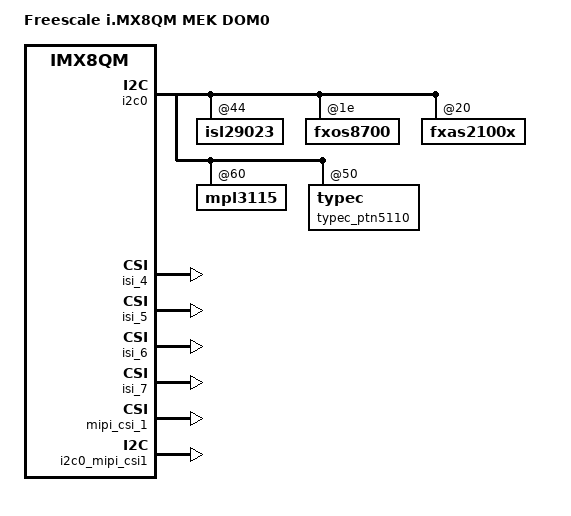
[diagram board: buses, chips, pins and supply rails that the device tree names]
/*
 * Copyright 2018 NXP
 *
 * This program is free software; you can redistribute it and/or
 * modify it under the terms of the GNU General Public License
 * as published by the Free Software Foundation; either version 2
 * of the License, or (at your option) any later version.
 *
 * This program is distributed in the hope that it will be useful,
 * but WITHOUT ANY WARRANTY; without even the implied warranty of
 * MERCHANTABILITY or FITNESS FOR A PARTICULAR PURPOSE.  See the
 * GNU General Public License for more details.
 */

/dts-v1/;

/memreserve/ 0x84000000 0x4000000;
/memreserve/ 0x90000000 0x400000;
/memreserve/ 0x90400000 0x2000000;
/memreserve/ 0x92400000 0x2000000;
/memreserve/ 0x94400000 0x1800000;

#include "fsl-imx8qm-mek.dtsi"
#include "fsl-imx8qm-xen.dtsi"

/ {
	model = "Freescale i.MX8QM MEK DOM0";
	compatible = "fsl,imx8qm-mek", "fsl,imx8qm";

	chosen {
		#address-cells = <2>;
		#size-cells = <2>;

		/* Could be updated by U-Boot */
		module@0 {
			bootargs = "earlycon=xen console=hvc0 loglevel=8 root=/dev/mmcblk1p2 rw  rootwait";
			compatible = "xen,linux-zimage", "xen,multiboot-module";
			reg = <0x00000000 0x80a00000 0x00000000 0xf93a00>;
               };
	};

	domu {
		/*
		 * There are 5 MUs, 0A is used by Dom0, 1A is used
		 * by ATF, so for DomU, 2A/3A/4A could be used.
		 * SC_R_MU_0A
		 * SC_R_MU_1A
		 * SC_R_MU_2A
		 * SC_R_MU_3A
		 * SC_R_MU_4A
		 * The rsrcs and pads will be configured by uboot scu_rm cmd
		 */
		#address-cells = <1>;
		#size-cells = <0>;
		doma {
			compatible = "xen,domu";
			/*
			 * The name entry in VM configuration file
			 * needs to be same as here.
			 */
			domain_name = "DomU";
			/*
			 * The reg property will be updated by U-Boot to
			 * reflect the partition id.
			 */
			reg = <0>;
			init_on_rsrcs = <
				SC_R_MU_2A
			>;
			rsrcs = <
				SC_R_MU_6A
				SC_R_GPU_1_PID0
				SC_R_GPU_1_PID1
				SC_R_GPU_1_PID2
				SC_R_GPU_1_PID3
				SC_R_LVDS_1
				SC_R_LVDS_1_I2C_0
				SC_R_LVDS_1_PWM_0
				SC_R_DC_1
				SC_R_DC_1_BLIT0
				SC_R_DC_1_BLIT1
				SC_R_DC_1_BLIT2
				SC_R_DC_1_BLIT_OUT
				SC_R_DC_1_CAPTURE0
				SC_R_DC_1_CAPTURE1
				SC_R_DC_1_WARP
				SC_R_DC_1_INTEGRAL0
				SC_R_DC_1_INTEGRAL1
				SC_R_DC_1_VIDEO0
				SC_R_DC_1_VIDEO1
				SC_R_DC_1_FRAC0
				SC_R_DC_1_FRAC1
				SC_R_DC_1_PLL_0
				SC_R_DC_1_PLL_1
				SC_R_MIPI_1
				SC_R_MIPI_1_I2C_0
				SC_R_MIPI_1_I2C_1
				SC_R_MIPI_1_PWM_0
				SC_R_HDMI
				SC_R_HDMI_I2C_0
				SC_R_SDHC_0
				SC_R_USB_0
				SC_R_USB_0_PHY
				SC_R_UART_1
				SC_R_DMA_0_CH14
				SC_R_DMA_0_CH15
				SC_R_MU_2A
				/* pcie */
				SC_R_PCIE_B
				SC_R_PCIE_A
				SC_R_SERDES_0
				SC_R_HSIO_GPIO
				/*vpu*/
				SC_R_VPU
				SC_R_VPU_PID0
				SC_R_VPU_PID1
				SC_R_VPU_PID2
				SC_R_VPU_PID3
				SC_R_VPU_PID4
				SC_R_VPU_PID5
				SC_R_VPU_PID6
				SC_R_VPU_PID7
				SC_R_VPU_DEC_0
				SC_R_VPU_ENC_0
				SC_R_VPU_ENC_1
				SC_R_VPU_TS_0
				SC_R_VPU_MU_0
				SC_R_VPU_MU_1
				SC_R_VPU_MU_2
				SC_R_VPU_MU_3
				/* crypto */
				SC_R_CAAM_JR2
				SC_R_CAAM_JR2_OUT
				SC_R_CAAM_JR3
				SC_R_CAAM_JR3_OUT
				/* Camera */
				SC_R_ISI_CH0
				SC_R_ISI_CH1
				SC_R_ISI_CH2
				SC_R_ISI_CH3
				SC_R_MIPI_0
				SC_R_MIPI_0_PWM_0
				SC_R_MIPI_0_I2C_0
				SC_R_MIPI_0_I2C_1
				SC_R_CSI_0
				SC_R_CSI_0_PWM_0
				SC_R_CSI_0_I2C_0
				/* usbotg3 */
				SC_R_USB_2
				SC_R_USB_2_PHY
				/* ESAI0 */
				SC_R_DMA_2_CH6
				SC_R_DMA_2_CH7
				SC_R_ESAI_0
				/* ASRC0 */
				SC_R_DMA_2_CH0
				SC_R_DMA_2_CH1
				SC_R_DMA_2_CH2
				SC_R_DMA_2_CH3
				SC_R_DMA_2_CH4
				SC_R_DMA_2_CH5
				SC_R_ASRC_0
				SC_R_AUDIO_CLK_1
				SC_R_AUDIO_CLK_0
				SC_R_AUDIO_PLL_1
				SC_R_AUDIO_PLL_0

				SC_R_MCLK_OUT_0
				SC_R_MCLK_OUT_1

				/* HIFI DSP */
				SC_R_DSP
				SC_R_DSP_RAM
				SC_R_MU_13B
				SC_R_MU_13A
			>;
			pads = <
				/* i2c1_lvds1 */
				SC_P_LVDS1_I2C1_SCL
				SC_P_LVDS1_I2C1_SDA
				/* emmc */
				SC_P_EMMC0_CLK
				SC_P_EMMC0_CMD
				SC_P_EMMC0_DATA0
				SC_P_EMMC0_DATA1
				SC_P_EMMC0_DATA2
				SC_P_EMMC0_DATA3
				SC_P_EMMC0_DATA4
				SC_P_EMMC0_DATA5
				SC_P_EMMC0_DATA6
				SC_P_EMMC0_DATA7
				SC_P_EMMC0_STROBE
				SC_P_EMMC0_RESET_B
				/* usb otg */
				SC_P_USB_SS3_TC0
				/* uart1 */
				SC_P_UART1_RX
				SC_P_UART1_TX
				SC_P_UART1_CTS_B
				SC_P_UART1_RTS_B
				SC_P_QSPI1A_DQS
				/* pciea */
				SC_P_PCIE_CTRL0_CLKREQ_B
				SC_P_PCIE_CTRL0_WAKE_B
				SC_P_PCIE_CTRL0_PERST_B
				SC_P_LVDS1_I2C0_SDA
				SC_P_USDHC2_RESET_B
				/*usbotgs typec */
				SC_P_QSPI1A_SS0_B
				SC_P_USB_SS3_TC3
				SC_P_QSPI1A_DATA0
				/* isl29023 */
				SC_P_USDHC2_WP
				SC_P_MIPI_CSI0_GPIO0_00
				SC_P_MIPI_CSI0_GPIO0_01

				/* ESAI0 */
				SC_P_ESAI0_FSR
				SC_P_ESAI0_FST
				SC_P_ESAI0_SCKR
				SC_P_ESAI0_SCKT
				SC_P_ESAI0_TX0
				SC_P_ESAI0_TX1
				SC_P_ESAI0_TX2_RX3
				SC_P_ESAI0_TX3_RX2
				SC_P_ESAI0_TX4_RX1
				SC_P_ESAI0_TX5_RX0
				>;

			gpios = <&gpio1 13 GPIO_ACTIVE_LOW>,
				<&gpio1 27 GPIO_ACTIVE_LOW>,
				<&gpio1 28 GPIO_ACTIVE_LOW>,
				<&gpio4 6 GPIO_ACTIVE_LOW>,
				<&gpio4 9 GPIO_ACTIVE_LOW>,
				<&gpio4 11 GPIO_ACTIVE_HIGH>,
				<&gpio4 19 GPIO_ACTIVE_HIGH>,
				<&gpio4 26 GPIO_ACTIVE_HIGH>,
				<&gpio4 25 GPIO_ACTIVE_HIGH>,
				<&gpio4 27 GPIO_ACTIVE_LOW>,
				<&gpio4 29 GPIO_ACTIVE_LOW>;
		};
	};

	reserved-memory {
		/* global autoconfigured region for contiguous allocations */
		linux,cma {
			compatible = "shared-dma-pool";
			reusable;
			size = <0 0x28000000>;
			alloc-ranges = <0 0xa0000000 0 0x40000000>;
			linux,cma-default;
		};
	};

	display-subsystem {
		compatible = "fsl,imx-display-subsystem";
		ports = <&dpu1_disp0>, <&dpu1_disp1>;
	};

	/* Passthrough to domu */
	mu2: mu@5d1d0000 {
		compatible = "fsl,imx8-mu";
		reg = <0x0 0x5d1d0000 0x0 0x10000>;
		interrupts = <GIC_SPI 178 IRQ_TYPE_LEVEL_HIGH>;
		fsl,scu_ap_mu_id = <0>;
		xen,passthrough;
		status = "disabled";
	};

	cm41: cm41@1 {
		fsl,sc_rsrc_id = <SC_R_M4_1_PID0>,
				 <SC_R_M4_1_PID1>,
				 <SC_R_M4_1_PID2>,
				 <SC_R_M4_1_PID3>,
				 <SC_R_M4_1_PID4>;
		#stream-id-cells = <1>;
		iommus = <&smmu>;
		xen,passthrough;
		/* This will be parased by xen smmu driver */
		init-smmu-bypass;
	};

	irqsteer_cm41: irqsteer_cm41@0x51080000 {
		reg = <0x0 0x51080000 0x0 0x10000>;
		xen,passthrough;
	};

	mu_rpmsg1_b: mu_rpmsg1_b@0x5d2a0000 {
		reg = <0x0 0x5d2a0000 0x0 0x10000>;
		xen,passthrough;
	};

	dsp_mu_b: dsp_mu_b@0x5d310000 {
		reg = <0x0 0x5d310000 0x0 0x10000>;
		xen,passthrough;
	};

	decoder_boot_mem: decoder_boot_mem@0x84000000 {
		xen,passthrough;
		reg = <0 0x84000000 0 0x2000000>;
	};

	encoder_boot_mem: encoder_boot_mem@0x86000000 {
		xen,passthrough;
		reg = <0 0x86000000 0 0x2000000>;
	};

	rpmsg_reserved_mem: rpmsg_reserved_mem@90000000 {
		reg = <0x0 0x90000000 0x0 0x400000>;
		xen,passthrough;
	};

	decoder_rpc_mem: decoder_rpc_mem@0x90400000 {
		xen,passthrough;
		reg = <0 0x90400000 0 0x1000000>;
	};

	encoder_rpc_mem: encoder_rpc_mem@0x91400000 {
		xen,passthrough;
		reg = <0 0x91400000 0 0x1000000>;
	};

	decoder_str_mem: str_mem@0x94400000 {
		xen,passthrough;
		reg = <0 0x94400000 0 0x1800000>;
	};

	/* This piece memory is used by M41, M40 is not covered */
	m41_mem: m41_mem@0x94400000 {
		xen,passthrough;
		reg = <0 0x88800000 0 0x7800000>;
	};

	gpio4_dummy: gpio4_dummy@0{
		/* Passthrough gpio4 interrupt to DomU */
		interrupts = <GIC_SPI 140 IRQ_TYPE_LEVEL_HIGH>;
		xen,passthrough;
	};
};

&mu_rpmsg1 {
	xen,passthrough;
};

&rpmsg1 {
	/* Let xen not create mapping form dom0 */
	/delete-property/ reg;
	status = "disabled";
};

&mu_6_lpcg {
	xen,passthrough;
};

&mu_6_lpcg_b {
	xen,passthrough;
};

&mu_7_lpcg_b {
	xen,passthrough;
};

&usbotg1_lpcg {
	xen,passthrough;
};

&sdhc1_lpcg {
	xen,passthrough;
};

&lpuart1 {
	xen,passthrough;
};

&lpuart1_lpcg {
	xen,passthrough;
};

/*
 * DomU CM41 use this, but DomU OS not need this,
 * because smmu is enabled for CM41, so need to
 *create the lpuart2 mapping in SMMU
 */
&lpuart2 {
	xen,passthrough;
};

&lpuart2_lpcg {
	xen,passthrough;
};

&di_lvds1_lpcg {
	xen,passthrough;
};

&dc_1_lpcg {
	xen,passthrough;
};

&edma01 {
	#stream-id-cells = <1>;
	xen,passthrough;
};

&edma20 {
	#stream-id-cells = <1>;
	xen,passthrough;
	/* Put edma20 and edma21 resource here */
	fsl,sc_rsrc_id = <SC_R_DMA_2_CH0>,
			 <SC_R_DMA_2_CH1>,
			 <SC_R_DMA_2_CH2>,
			 <SC_R_DMA_2_CH3>,
			 <SC_R_DMA_2_CH4>,
			 <SC_R_DMA_2_CH5>,
			 <SC_R_DMA_2_CH6>,
			 <SC_R_DMA_2_CH7>;
};

&edma21 {
	xen,passthrough;
};

/*
 * SMMU, for simplity, we put all all the resources needs to programmed
 * for VPU under vpu_decoder node, then in cfg file only add vpu_decoder
 * in dt_dev is enough.
 */
&smmu {
	mmu-masters = <&dpu2 0x13>, <&gpu_3d1 0x15>, <&edma20 0x14>,
		      <&usdhc1 0x12>, <&usbotg1 0x11>,
		      <&edma01 0x10>, <&cm41 0x09>, <&pciea 0x08>,
		      <&vpu_decoder 0x7>, <&crypto 0x6>, <&isi_0 0x5>,
		      <&usbotg3 0x4>, <&dsp 0x3>;
};

&lvds_region2 {
	xen,passthrough;
};

&irqsteer_lvds1 {
	xen,passthrough;
};

&i2c1_lvds1 {
	xen,passthrough;
};

&ldb2_phy {
	xen,passthrough;
};

&ldb2 {
	xen,passthrough;
};

&dpu2_intsteer {
	xen,passthrough;
};

&dpu2 {
	xen,passthrough;
	#stream-id-cells = <1>;
	iommus = <&smmu>;
};

&pixel_combiner2 {
	xen,passthrough;
};

&prg10 {
	xen,passthrough;
};

&prg11 {
	xen,passthrough;
};

&prg12 {
	xen,passthrough;
};

&prg13 {
	xen,passthrough;
};

&prg14 {
	xen,passthrough;
};

&prg15 {
	xen,passthrough;
};

&prg16 {
	xen,passthrough;
};

&prg17 {
	xen,passthrough;
};

&prg18 {
	xen,passthrough;
};

&dpr3_channel1 {
	xen,passthrough;
};

&dpr3_channel2 {
	xen,passthrough;
};

&dpr3_channel3 {
	xen,passthrough;
};

&dpr4_channel1 {
	xen,passthrough;
};

&dpr4_channel2 {
	xen,passthrough;
};

&dpr4_channel3 {
	xen,passthrough;
};

/* GPU */
&pd_gpu1 {
	xen,passthrough;
};

&gpu_3d1 {
	xen,passthrough;
	#stream-id-cells = <1>;
	iommus = <&smmu>;
};

&imx8_gpu_ss {
	cores = <&gpu_3d0>;
	/delete-property/ reg;
	/delete-property/ reg-names;
};

&sata {
	status = "disabled";
};

&usdhc1 {
	xen,passthrough;
	#stream-id-cells = <1>;
	iommus = <&smmu>;
};

&usbotg1 {
	/* Hack reg */
	reg = <0x0 0x5b0d0000 0x0 0x1000>;
	xen,passthrough;
	#stream-id-cells = <1>;
	iommus = <&smmu>;
};

&usbmisc1 {
	/* Hack */
	/delete-property/ reg;
	status = "disabled";
};

&usbphy1 {
	reg = <0x0 0x5b100000 0x0 0x1000>;
	xen,passthrough;
};

&hsio {
	xen,passthrough;
};

&hsio_pcie_x2_lpcg {
	xen,passthrough;
};

&hsio_phy_x2_lpcg {
	xen,passthrough;
};

&hsio_pcie_x2_crr2_lpcg {
	xen,passthrough;
};

&hsio_pcie_x1_lpcg {
	xen,passthrough;
};

&pciea {
       #stream-id-cells = <1>;
       iommus = <&smmu>;
       xen,passthrough;
       fsl,sc_rsrc_id = <SC_R_PCIE_A>;
};

&pcieb {
       xen,passthrough;
};

&gpio1 {
	xen,shared;
};

&gpt0 {
	/delete-property/ interrupts;
	status = "disabled";
};

&gpio4 {
	/*
	 * Use GPT0 interrupt for hack
	 * This could be removed when interrupt sharing be supported.
	 */
	interrupts = <GIC_SPI 80 IRQ_TYPE_LEVEL_HIGH>;
	xen,domu-irq;
	xen,shared;
};

&dsp {
       xen,passthrough;
       #stream-id-cells = <1>;
       iommus = <&smmu>;
};

&mu13 {
	xen,passthrough;
};

&mu_m0 {
	xen,passthrough;
};

&mu1_m0 {
	xen,passthrough;
};

&mu2_m0 {
	xen,passthrough;
};

&vpu_decoder {
       #stream-id-cells = <1>;
       iommus = <&smmu>;
       xen,passthrough;
       fsl,sc_rsrc_id = <SC_R_VPU>,
			<SC_R_VPU_PID0>,
			<SC_R_VPU_PID1>,
			<SC_R_VPU_PID2>,
			<SC_R_VPU_PID3>,
			<SC_R_VPU_PID4>,
			<SC_R_VPU_PID5>,
			<SC_R_VPU_PID6>,
			<SC_R_VPU_PID7>,
			<SC_R_VPU_DEC_0>,
			<SC_R_VPU_ENC_0>,
			<SC_R_VPU_ENC_1>,
			<SC_R_VPU_TS_0>,
			<SC_R_VPU_MU_0>,
			<SC_R_VPU_MU_1>,
			<SC_R_VPU_MU_2>,
			<SC_R_VPU_MU_3>;
};

&vpu_decoder_csr {
	xen,passthrough;
};

&vpu_encoder {
       iommus = <&smmu>;
       #stream-id-cells = <1>;
       xen,passthrough;
};

&crypto {
	xen,passthrough;
	iommus = <&smmu>;
	#stream-id-cells = <1>;
	/* JR1 is not used by Linux */
	fsl,sc_rsrc_id = <SC_R_CAAM_JR2>, <SC_R_CAAM_JR2_OUT>,
			 <SC_R_CAAM_JR3>, <SC_R_CAAM_JR3_OUT>;
};

&sec_jr2 {
	xen,passthrough;
};

&sec_jr3 {
	xen,passthrough;
};

&caam_sm {
	xen,passthrough;
};

&i2c0 {
	isl29023@44 {
		xen,passthrough;
	};

	fxos8700@1e {
		xen,passthrough;
	};

	fxas2100x@20 {
		xen,passthrough;
	};

	mpl3115@60 {
		xen,passthrough;
	};

	typec_ptn5110: typec@50 {
		xen,passthrough;
	};
};

/* Camera */
&img_pdma_0_lpcg {
	xen,passthrough;
};

&img_pdma_1_lpcg {
	xen,passthrough;
};

&img_pdma_2_lpcg {
	xen,passthrough;
};

&img_pdma_3_lpcg {
	xen,passthrough;
};

&mipi_csi_0_lpcg {
	xen,passthrough;
};

&img_pxl_link_csi0_lpcg {
	xen,passthrough;
};

&gpio0_mipi_csi0 {
	xen,passthrough;
};

&irqsteer_csi0 {
	xen,passthrough;
};

&isi_0 {
	xen,passthrough;
	#stream-id-cells = <1>;
	iommus = <&smmu>;
	fsl,sc_rsrc_id = <SC_R_ISI_CH0>,
			 <SC_R_ISI_CH1>,
			 <SC_R_ISI_CH2>,
			 <SC_R_ISI_CH3>;
};

&isi_1 {
	xen,passthrough;
};

&isi_2 {
	xen,passthrough;
};

&isi_3 {
	xen,passthrough;
};

&mipi_csi_0 {
	xen,passthrough;
};

&i2c0_mipi_csi0 {
	xen,passthrough;
};

&isi_4 {
	status = "okay";
};

&isi_5 {
	status = "okay";
};

&isi_6 {
	status = "okay";
};

&isi_7 {
	status = "okay";
};

&mipi_csi_1 {
	status = "okay";
};

&i2c0_mipi_csi1 {
	status = "okay";
};

&usbotg3_lpcg {
	xen,passthrough;
};

&usbotg3 {
	xen,passthrough;
	#stream-id-cells = <1>;
	iommus = <&smmu>;
};

/delete-node/ &{/sound-cs42888};

&acm {
	xen,passthrough;
};

&esai0 {
	xen,passthrough;
};

&asrc0 {
	xen,passthrough;
};

&aud_asrc_0_lpcg {
	xen,passthrough;
};

&aud_esai_0_lpcg {
	xen,passthrough;
};

&aud_pll_clk0_lpcg {
	xen,passthrough;
};

&aud_pll_clk1_lpcg {
	xen,passthrough;
};

&aud_mclkout0_lpcg {
	xen,passthrough;
};

&aud_mclkout1_lpcg {
	xen,passthrough;
};

&aud_rec_clk0_lpcg {
	xen,passthrough;
};

&aud_rec_clk1_lpcg {
	xen,passthrough;
};
